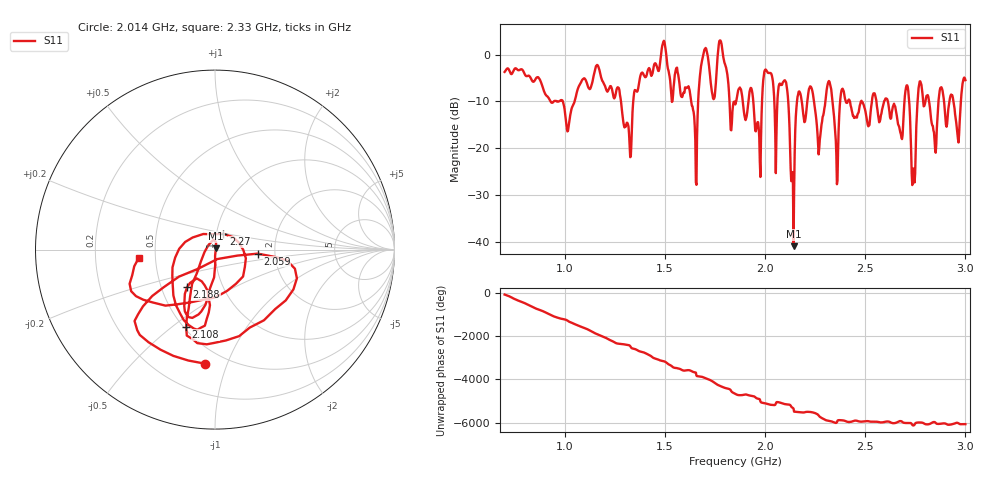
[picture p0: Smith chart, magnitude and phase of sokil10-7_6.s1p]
# HZ S RI R 50
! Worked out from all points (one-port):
!   808 points, 700 MHz to 3 GHz, reference 50 ohm
!   lowest |S11| = -40.9 dB at 2.142 GHz (marker M1), VSWR 1.02, Z = 50.5 + j0.727 ohm
!   |S11| at or under -10 dB: 990.8 MHz to 1.049 GHz (58.5 MHz wide, 5.73 % of centre); 1.281 GHz to 1.342 GHz (61.27 MHz wide, 4.67 % of centre); 2.613 GHz to 2.696 GHz (83.04 MHz wide, 3.13 % of centre)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
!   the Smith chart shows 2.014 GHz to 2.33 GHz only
!   S11 on the Smith chart (normalised r, x): 2.014 GHz: 0.39, -0.83; 2.059 GHz: 1.62, -0.08; 2.108 GHz: 0.51, -0.56; 2.188 GHz: 0.68, -0.30; 2.27 GHz: 1.08, +0.19; 2.33 GHz: 0.40, -0.04
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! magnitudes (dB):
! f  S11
! 700 MHz  -3.7
! 987.9 MHz  -9.8
! 1.276 GHz  -8.6
! 1.324 GHz  -19.5
! 1.492 GHz  2.7
! 1.564 GHz  -3.8
! 1.652 GHz  -18.4
! 1.7 GHz  1.2
! 1.851 GHz  -10.7
! 1.968 GHz  -15.6
! 2.014 GHz  -3.9
! 2.059 GHz  -12.4
! 2.108 GHz  -6.7
! 2.139 GHz  -27.7
! 2.142 GHz  -40.9
! 2.165 GHz  -8.6
! 2.188 GHz  -11.7
! 2.27 GHz  -20.1
! 2.33 GHz  -7.4
! 2.356 GHz  -21.5
! 2.384 GHz  -7.4
! 2.427 GHz  -10.9
! 2.715 GHz  -7.8
! 2.741 GHz  -24.3
! 2.775 GHz  -5.7
! 2.846 GHz  -18.3
! 2.963 GHz  -18.0
! 3 GHz  -5.5
